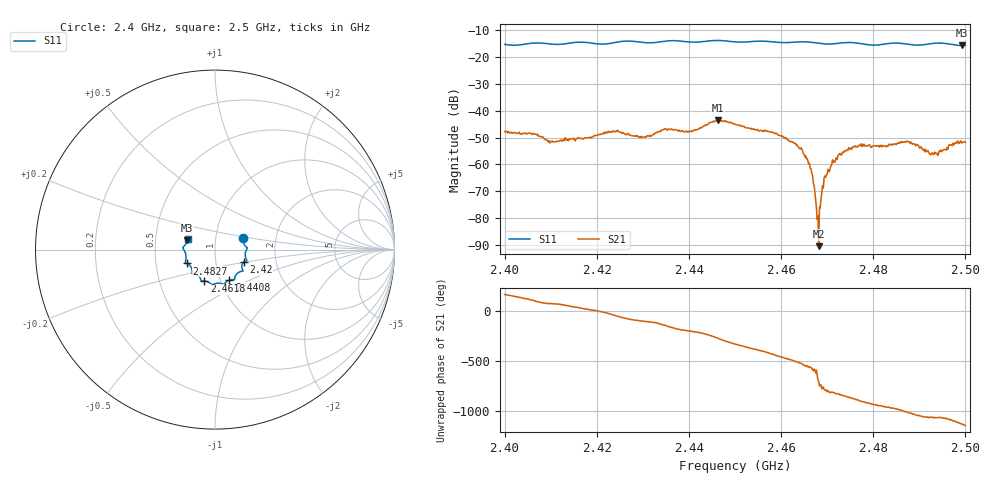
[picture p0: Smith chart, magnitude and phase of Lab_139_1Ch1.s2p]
# Hz S RI R 50
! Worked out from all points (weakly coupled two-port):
!   601 points, 2.4 GHz to 2.5 GHz, reference 50 ohm
!   highest |S21| = -43.66 dB at 2.4463 GHz (marker M1); lowest = -90.4 dB at 2.4682 GHz (marker M2)
!   lowest |S11| = -15.8 dB at 2.4993 GHz (marker M3), VSWR 1.39, Z = 36.5 + j3.83 ohm
!   |S11| at or under -10 dB: start of sweep to end of sweep
!   S12 and S22 are empty: the file has one direction only
!   S11 on the Smith chart (normalised r, x): 2.4 GHz: 1.36, +0.18; 2.42 GHz: 1.36, -0.20; 2.4408 GHz: 1.10, -0.39; 2.4618 GHz: 0.84, -0.30; 2.4827 GHz: 0.72, -0.11; 2.5 GHz: 0.73, +0.09
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2.4e9  0.1584 0.0629  -0.00399 0.000678  0 0  0 0
2.410333e9  0.1715 -0.00948  0.000587 0.00268  0 0  0 0
2.416667e9  0.1771 -0.0609  0.00253 0.00164  0 0  0 0
2.42e9  0.1597 -0.0702  0.00344 0.000401  0 0  0 0
2.433333e9  0.1116 -0.1507  -0.00197 -0.00349  0 0  0 0
2.440833e9  0.0803 -0.1694  -0.00378 0.00164  0 0  0 0
2.446333e9  0.0492 -0.1953  0.000114 0.00656  0 0  0 0
2.45e9  0.0287 -0.1874  0.00477 0.00294  0 0  0 0
2.461833e9  -0.0591 -0.1755  -0.00144 -0.00228  0 0  0 0
2.464833e9  -0.0758 -0.1744  -0.00159 -9.13e-05  0 0  0 0
2.466667e9  -0.0787 -0.1683  -0.000561 0.000392  0 0  0 0
2.467667e9  -0.0809 -0.1617  -9.95e-05 0.000125  0 0  0 0
2.468167e9  -0.0828 -0.158  2.87e-05 9.52e-06  0 0  0 0
2.469833e9  -0.0938 -0.1454  0.000198 -0.000606  0 0  0 0
2.472333e9  -0.1158 -0.1351  -0.000447 -0.00139  0 0  0 0
2.477167e9  -0.1269 -0.1231  -0.00228 0.00012  0 0  0 0
2.482667e9  -0.1557 -0.077  -0.00104 0.00193  0 0  0 0
2.483333e9  -0.1601 -0.0751  -0.000896 0.00213  0 0  0 0
2.487833e9  -0.1616 -0.0517  0.00144 0.00221  0 0  0 0
2.492667e9  -0.1763 0.00303  0.00153 0.000473  0 0  0 0
2.499333e9  -0.1541 0.0511  0.00149 -0.00206  0 0  0 0
2.5e9  -0.1522 0.0605  0.000918 -0.0024  0 0  0 0
